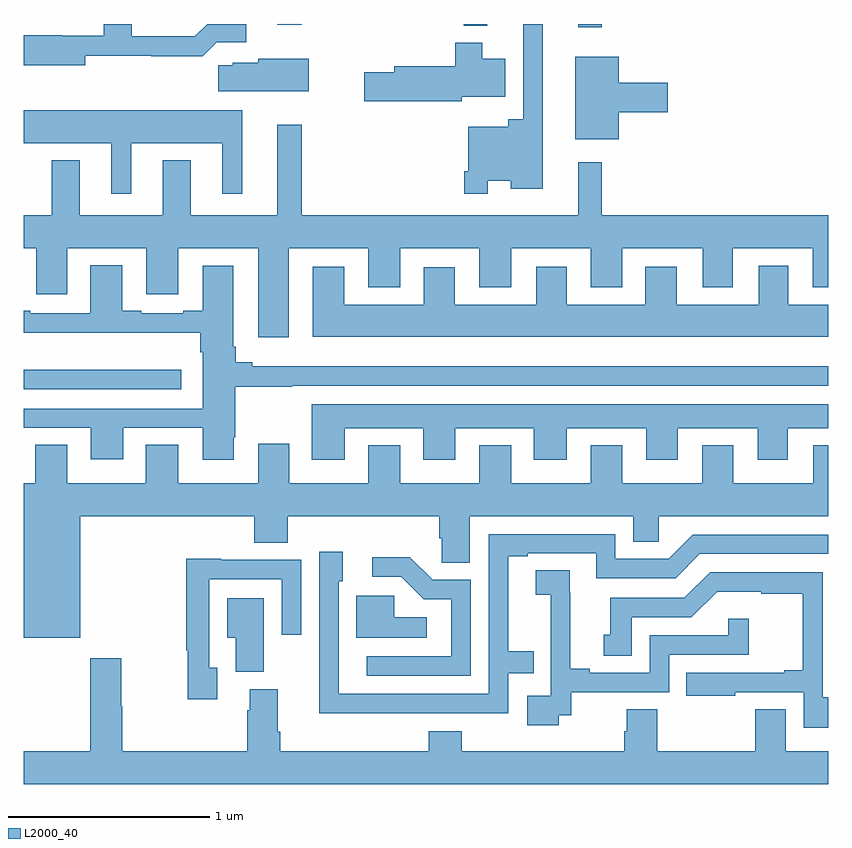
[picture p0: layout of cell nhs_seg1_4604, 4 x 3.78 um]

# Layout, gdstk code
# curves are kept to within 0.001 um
import gdstk
lib = gdstk.Library(unit=1e-6, precision=1e-09)
def R(c, l, rs):  # rectangles x0, y0, x1, y1
    for r in rs: c.add(gdstk.rectangle(r[:2], r[2:], *l))
def P(c, l, *ps):  # polygons
    for p in ps: c.add(gdstk.Polygon(p, *l))
L2000_40 = (2000, 40)

nhs_seg1_4604 = lib.new_cell('nhs_seg1_4604')
R(nhs_seg1_4604, L2000_40, [(361,532.383,361.783,532.481), (363.758,534.183,363.875,534.199), (363.187,534.191,363.305,534.199), (362.261,534.195,362.383,534.199)])
P(nhs_seg1_4604, L2000_40, [(363.306,533.42),(363.422,533.42),(363.422,533.381),(363.58,533.381),(363.58,534.199),(363.483,534.199),(363.483,533.725),(363.41,533.725),(363.41,533.689),(363.21,533.689),(363.21,533.467),(363.19,533.467),(363.19,533.355),(363.306,533.355)],
  [(361.306,534.04),(361.633,534.04),(361.633,534.038),(361.889,534.038),(361.959,534.108),(362.107,534.108),(362.107,534.199),(361.912,534.199),(361.851,534.138),(361.537,534.138),(361.537,534.199),(361.397,534.199),(361.397,534.141),(361,534.142),(361,533.993),(361.306,533.993)],
  [(363.178,533.837),(363.394,533.837),(363.394,534.025),(363.28,534.025),(363.28,534.106),(363.146,534.106),(363.146,533.988),(362.843,533.988),(362.843,533.958),(362.694,533.958),(362.694,533.816),(363.178,533.816)],
  [(363.958,533.759),(364.201,533.759),(364.201,533.906),(363.958,533.906),(363.958,534.037),(363.743,534.037),(363.743,533.627),(363.958,533.627)],
  [(362.416,534.025),(362.166,534.025),(362.166,534.007),(362.04,534.007),(362.04,533.993),(361.968,533.993),(361.968,533.864),(362.416,533.864)],
  [(361.534,533.606),(361.988,533.606),(361.988,533.355),(362.086,533.355),(362.086,533.77),(361,533.77),(361,533.606),(361.436,533.606),(361.436,533.355),(361.534,533.355)],
  [(362.317,533.084),(362.714,533.084),(362.714,532.89),(362.872,532.89),(362.872,533.084),(363.266,533.084),(363.266,532.89),(363.424,532.89),(363.424,533.084),(363.818,533.084),(363.818,532.89),(363.976,532.89),(363.976,533.084),(364.376,533.084),(364.376,532.89),(364.525,532.89),(364.525,533.084),(364.922,533.084),(364.922,532.89),(365,532.89),(365,533.248),(363.875,533.248),(363.875,533.512),(363.758,533.512),(363.758,533.248),(362.383,533.248),(362.383,533.698),(362.261,533.698),(362.261,533.248),(361.831,533.248),(361.831,533.521),(361.691,533.521),(361.691,533.248),(361.279,533.248),(361.279,533.521),(361.139,533.521),(361.139,533.248),(361,533.248),(361,533.084),(361.061,533.084),(361.061,532.854),(361.216,532.854),(361.216,533.084),(361.61,533.084),(361.61,532.854),(361.768,532.854),(361.768,533.084),(362.165,533.084),(362.165,532.641),(362.317,532.641)],
  [(362.044,532.144),(362.052,532.144),(362.052,532.396),(362.336,532.396),(362.336,532.401),(365,532.401),(365,532.498),(362.137,532.498),(362.137,532.517),(362.054,532.517),(362.054,532.594),(362.041,532.594),(362.041,532.996),(361.889,532.996),(361.889,532.774),(361.793,532.774),(361.793,532.761),(361.585,532.761),(361.585,532.774),(361.489,532.774),(361.489,532.999),(361.331,532.999),(361.331,532.761),(361.033,532.761),(361.033,532.774),(361,532.774),(361,532.664),(361.877,532.664),(361.877,532.568),(361.889,532.568),(361.889,532.287),(361,532.287),(361,532.191),(361.334,532.191),(361.334,532.035),(361.495,532.035),(361.495,532.191),(361.889,532.191),(361.889,532.032),(362.044,532.032)],
  [(365,532.804),(364.801,532.804),(364.801,532.996),(364.655,532.996),(364.655,532.804),(364.246,532.804),(364.246,532.993),(364.091,532.993),(364.091,532.804),(363.7,532.804),(363.7,532.993),(363.548,532.993),(363.548,532.804),(363.142,532.804),(363.142,532.99),(362.99,532.99),(362.99,532.804),(362.593,532.804),(362.593,532.993),(362.438,532.993),(362.438,532.643),(365,532.643)],
  [(362.596,532.19),(362.987,532.19),(362.987,532.032),(363.145,532.032),(363.145,532.19),(363.536,532.19),(363.536,532.032),(363.7,532.032),(363.7,532.19),(364.094,532.19),(364.094,532.032),(364.252,532.032),(364.252,532.19),(364.649,532.19),(364.649,532.032),(364.798,532.032),(364.798,532.19),(365,532.19),(365,532.309),(362.432,532.309),(362.432,532.032),(362.596,532.032)],
  [(362.147,531.619),(362.312,531.619),(362.312,531.752),(363.065,531.752),(363.065,531.643),(363.078,531.643),(363.078,531.52),(363.217,531.52),(363.217,531.752),(364.031,531.752),(364.031,531.625),(364.158,531.625),(364.158,531.752),(365,531.752),(365,532.105),(364.925,532.105),(364.925,531.916),(364.528,531.916),(364.528,532.105),(364.373,532.105),(364.373,531.916),(363.976,531.916),(363.976,532.105),(363.818,532.105),(363.818,531.916),(363.424,531.916),(363.424,532.105),(363.266,532.105),(363.266,531.916),(362.872,531.916),(362.872,532.105),(362.714,532.105),(362.714,531.916),(362.32,531.916),(362.32,532.111),(362.165,532.111),(362.165,531.916),(361.768,531.916),(361.768,532.106),(361.607,532.106),(361.607,531.916),(361.216,531.916),(361.216,532.106),(361.058,532.106),(361.058,531.916),(361,531.916),(361,531.146),(361.282,531.146),(361.282,531.752),(362.147,531.752)],
  [(362.93,530.772),(363.408,530.772),(363.408,530.97),(363.536,530.97),(363.536,531.079),(363.409,531.079),(363.409,531.552),(363.505,531.552),(363.505,531.567),(363.846,531.567),(363.846,531.444),(364.242,531.444),(364.362,531.564),(365,531.564),(365,531.66),(364.326,531.66),(364.206,531.54),(363.942,531.54),(363.942,531.663),(363.312,531.663),(363.312,530.868),(362.565,530.868),(362.565,531.429),(362.587,531.429),(362.587,531.574),(362.469,531.574),(362.468,530.771)],
  [(363.222,531.435),(363.033,531.435),(362.92,531.548),(362.733,531.548),(362.733,531.45),(362.877,531.45),(362.988,531.339),(363.126,531.339),(363.126,531.054),(362.706,531.054),(362.706,530.958),(363.222,530.958)],
  [(361.963,530.997),(361.923,530.997),(361.923,531.438),(362.283,531.438),(362.283,531.162),(362.379,531.162),(362.379,531.534),(361.983,531.534),(361.983,531.541),(361.807,531.541),(361.807,531.085),(361.815,531.085),(361.815,530.841),(361.963,530.841)],
  [(363.66,530.763),(363.722,530.763),(363.722,530.877),(364.209,530.877),(364.209,531.063),(364.604,531.063),(364.604,531.241),(364.503,531.241),(364.503,531.159),(364.113,531.159),(364.113,530.973),(363.814,530.973),(363.814,530.993),(363.718,530.993),(363.718,531.371),(363.716,531.371),(363.716,531.482),(363.546,531.482),(363.546,531.361),(363.62,531.361),(363.62,531.163),(363.621,531.163),(363.621,530.859),(363.504,530.859),(363.504,530.712),(363.66,530.712)],
  [(365,530.851),(364.974,530.851),(364.974,531.474),(364.413,531.474),(364.284,531.345),(363.917,531.345),(363.917,531.162),(363.884,531.162),(363.884,531.058),(364.024,531.058),(364.024,531.249),(364.32,531.249),(364.448,531.377),(364.667,531.377),(364.667,531.366),(364.873,531.366),(364.873,530.986),(364.781,530.986),(364.781,530.973),(364.294,530.973),(364.294,530.858),(364.537,530.858),(364.537,530.877),(364.878,530.877),(364.878,530.7),(365,530.7)],
  [(363.004,531.25),(362.841,531.25),(362.841,531.357),(362.654,531.357),(362.654,531.146),(363.004,531.146)],
  [(362.194,531.343),(362.012,531.343),(362.012,531.146),(362.054,531.146),(362.054,530.977),(362.194,530.977)],
  [(365,530.584),(364.789,530.584),(364.789,530.792),(364.637,530.792),(364.637,530.584),(364.151,530.584),(364.151,530.792),(363.998,530.792),(363.998,530.682),(363.986,530.682),(363.986,530.584),(363.179,530.584),(363.179,530.683),(363.014,530.683),(363.014,530.584),(362.276,530.584),(362.276,530.68),(362.263,530.68),(362.263,530.892),(362.123,530.892),(362.123,530.786),(362.111,530.786),(362.111,530.584),(361.49,530.584),(361.49,530.807),(361.485,530.807),(361.485,531.046),(361.33,531.046),(361.33,530.584),(361,530.584),(361,530.42),(365,530.42)])

lib.write_gds('nhs_seg1_4604.gds')
